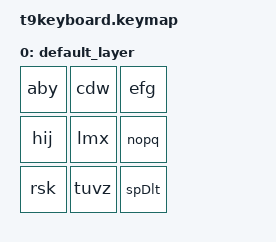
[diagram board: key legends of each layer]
/*

aby    cdw      efg
hij    lmx      nopq
rsk    tuvz     space / delete

*/

#include <behaviors.dtsi>
#include <dt-bindings/zmk/keys.h>
#include <dt-bindings/zmk/bt.h>

/ {

    behaviors {
        aby: t9aby {
            compatible = "zmk,behavior-tap-dance";
            #binding-cells = <0>;
            tapping-term-ms = <200>;
            bindings = <&kp A>, <&kp B>, <&kp Y>;
        };

        cdw: t9cdw {
            compatible = "zmk,behavior-tap-dance";
            #binding-cells = <0>;
            tapping-term-ms = <200>;
            bindings = <&kp C>, <&kp D>, <&kp W>;
        };

        efg: t9efg {
            compatible = "zmk,behavior-tap-dance";
            #binding-cells = <0>;
            tapping-term-ms = <200>;
            bindings = <&kp E>, <&kp F>, <&kp G>;
        };

        hij: t9hij {
            compatible = "zmk,behavior-tap-dance";
            #binding-cells = <0>;
            tapping-term-ms = <200>;
            bindings = <&kp H>, <&kp I>, <&kp J>;
        };

        lmx: t9lmx {
            compatible = "zmk,behavior-tap-dance";
            #binding-cells = <0>;
            tapping-term-ms = <200>;
            bindings = <&kp L>, <&kp M>, <&kp X>;
        };

        nopq: t9nopq {
            compatible = "zmk,behavior-tap-dance";
            #binding-cells = <0>;
            tapping-term-ms = <200>;
            bindings = <&kp N>, <&kp O>, <&kp P>, <&kp Q>;
        };

        rsk: t9rsk {
            compatible = "zmk,behavior-tap-dance";
            #binding-cells = <0>;
            tapping-term-ms = <200>;
            bindings = <&kp R>, <&kp S>, <&kp K>;
        };

        tuvz: t9tuvz {
            compatible = "zmk,behavior-tap-dance";
            #binding-cells = <0>;
            tapping-term-ms = <200>;
            bindings = <&kp T>, <&kp U>, <&kp V>, <&kp Z>;
        };

        spDlt: t9spDlt {
            compatible = "zmk,behavior-tap-dance";
            #binding-cells = <0>;
            tapping-term-ms = <200>;
            bindings = <&kp SPACE>, <&kp BACKSPACE>;
        };
    };

    keymap {
        compatible = "zmk,keymap";

        default_layer {
            bindings = <
                &aby     &cdw       &efg
                &hij     &lmx       &nopq
                &rsk     &tuvz      &spDlt
            >;
        };

    };
};
